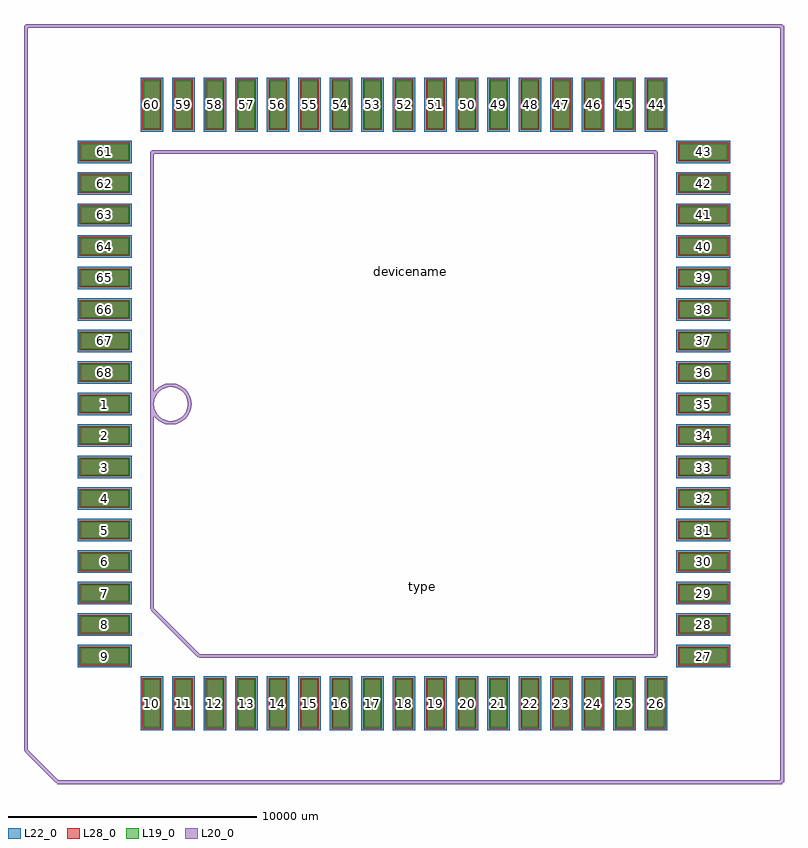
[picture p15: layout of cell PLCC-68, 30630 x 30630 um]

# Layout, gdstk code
import gdstk
lib = gdstk.Library(unit=1e-6, precision=1e-09)
def R(c, l, rs):  # rectangles x0, y0, x1, y1
    for r in rs: c.add(gdstk.rectangle(r[:2], r[2:], *l))
def A(c, l, x, y, w, h, nx, ny, dx, dy):  # array of equal rectangles
    R(c, l, [(x+i*dx, y+j*dy, x+i*dx+w, y+j*dy+h) for i in range(nx) for j in range(ny)])
L19_0 = (19, 0)
L20_0 = (20, 0)
L22_0 = (22, 0)
L28_0 = (28, 0)

plcc_68 = lib.new_cell('PLCC-68')
A(plcc_68, L19_0, -10491, -13031, 662, 1932, 17, 2, 1270, 24130)
A(plcc_68, L19_0, -13031, -10491, 1932, 662, 1, 17, 0, 1270)
A(plcc_68, L19_0, 11099, -10491, 1932, 662, 1, 17, 0, 1270)
A(plcc_68, L22_0, -10616, -13156, 912, 2182, 17, 2, 1270, 24130)
A(plcc_68, L22_0, -13156, -10616, 2182, 912, 1, 17, 0, 1270)
A(plcc_68, L22_0, 10974, -10616, 2182, 912, 1, 17, 0, 1270)
A(plcc_68, L28_0, -10541, -13081, 762, 2032, 17, 2, 1270, 24130)
A(plcc_68, L28_0, -13081, -10541, 2032, 762, 1, 17, 0, 1270)
A(plcc_68, L28_0, 11049, -10541, 2032, 762, 1, 17, 0, 1270)
plcc_68.add(gdstk.FlexPath([(-15240,15240),(-15240,-13970)], 149.998, ends="flush", simple_path=True, layer=20, datatype=0))  # L20_0
plcc_68.add(gdstk.FlexPath([(15240,15240),(-15240,15240)], 149.998, ends="flush", simple_path=True, layer=20, datatype=0))  # L20_0
plcc_68.add(gdstk.FlexPath([(15240,-15240),(15240,15240)], 149.998, ends="flush", simple_path=True, layer=20, datatype=0))  # L20_0
plcc_68.add(gdstk.FlexPath([(-13970,-15240),(15240,-15240)], 149.998, ends="flush", simple_path=True, layer=20, datatype=0))  # L20_0
plcc_68.add(gdstk.FlexPath([(-15240,-13970),(-13970,-15240)], 149.998, ends="flush", simple_path=True, layer=20, datatype=0))  # L20_0
plcc_68.add(gdstk.FlexPath([(-10160,-8255),(-10160,10160)], 149.998, ends="flush", simple_path=True, layer=20, datatype=0))  # L20_0
plcc_68.add(gdstk.FlexPath([(-8255,-10160),(-10160,-8255)], 149.998, ends="flush", simple_path=True, layer=20, datatype=0))  # L20_0
plcc_68.add(gdstk.FlexPath([(10160,-10160),(-8255,-10160)], 149.998, ends="flush", simple_path=True, layer=20, datatype=0))  # L20_0
plcc_68.add(gdstk.FlexPath([(10160,10160),(10160,-10160)], 149.998, ends="flush", simple_path=True, layer=20, datatype=0))  # L20_0
plcc_68.add(gdstk.FlexPath([(-10160,10160),(10160,10160)], 149.998, ends="flush", simple_path=True, layer=20, datatype=0))  # L20_0
plcc_68.add(gdstk.FlexPath([(-10160,0),(-10134.035,-197.22),(-10057.911,-381),(-9936.815,-538.815),(-9779,-659.911),(-9595.22,-736.035),(-9398,-762),(-9200.78,-736.035),(-9017,-659.911),(-8859.185,-538.815),(-8738.089,-381),(-8661.965,-197.22),(-8636,0),(-8661.965,197.22),(-8738.089,381),(-8859.185,538.815),(-9017,659.911),(-9200.78,736.035),(-9398,762),(-9595.22,736.035),(-9779,659.911),(-9936.815,538.815),(-10057.911,381),(-10134.035,197.22),(-10160,0)], 149.998, ends="flush", simple_path=True, layer=20, datatype=0))  # L20_0
plcc_68.add(gdstk.Label('43', (12065,10160), layer=28, texttype=0))
plcc_68.add(gdstk.Label('42', (12065,8890), layer=28, texttype=0))
plcc_68.add(gdstk.Label('41', (12065,7620), layer=28, texttype=0))
plcc_68.add(gdstk.Label('40', (12065,6350), layer=28, texttype=0))
plcc_68.add(gdstk.Label('39', (12065,5080), layer=28, texttype=0))
plcc_68.add(gdstk.Label('38', (12065,3810), layer=28, texttype=0))
plcc_68.add(gdstk.Label('37', (12065,2540), layer=28, texttype=0))
plcc_68.add(gdstk.Label('36', (12065,1270), layer=28, texttype=0))
plcc_68.add(gdstk.Label('35', (12065,0), layer=28, texttype=0))
plcc_68.add(gdstk.Label('34', (12065,-1270), layer=28, texttype=0))
plcc_68.add(gdstk.Label('33', (12065,-2540), layer=28, texttype=0))
plcc_68.add(gdstk.Label('32', (12065,-3810), layer=28, texttype=0))
plcc_68.add(gdstk.Label('31', (12065,-5080), layer=28, texttype=0))
plcc_68.add(gdstk.Label('30', (12065,-6350), layer=28, texttype=0))
plcc_68.add(gdstk.Label('29', (12065,-7620), layer=28, texttype=0))
plcc_68.add(gdstk.Label('28', (12065,-8890), layer=28, texttype=0))
plcc_68.add(gdstk.Label('27', (12065,-10160), layer=28, texttype=0))
plcc_68.add(gdstk.Label('26', (10160,-12065), layer=28, texttype=0))
plcc_68.add(gdstk.Label('25', (8890,-12065), layer=28, texttype=0))
plcc_68.add(gdstk.Label('24', (7620,-12065), layer=28, texttype=0))
plcc_68.add(gdstk.Label('23', (6350,-12065), layer=28, texttype=0))
plcc_68.add(gdstk.Label('22', (5080,-12065), layer=28, texttype=0))
plcc_68.add(gdstk.Label('21', (3810,-12065), layer=28, texttype=0))
plcc_68.add(gdstk.Label('20', (2540,-12065), layer=28, texttype=0))
plcc_68.add(gdstk.Label('19', (1270,-12065), layer=28, texttype=0))
plcc_68.add(gdstk.Label('18', (0,-12065), layer=28, texttype=0))
plcc_68.add(gdstk.Label('17', (-1270,-12065), layer=28, texttype=0))
plcc_68.add(gdstk.Label('16', (-2540,-12065), layer=28, texttype=0))
plcc_68.add(gdstk.Label('15', (-3810,-12065), layer=28, texttype=0))
plcc_68.add(gdstk.Label('14', (-5080,-12065), layer=28, texttype=0))
plcc_68.add(gdstk.Label('13', (-6350,-12065), layer=28, texttype=0))
plcc_68.add(gdstk.Label('12', (-7620,-12065), layer=28, texttype=0))
plcc_68.add(gdstk.Label('11', (-8890,-12065), layer=28, texttype=0))
plcc_68.add(gdstk.Label('10', (-10160,-12065), layer=28, texttype=0))
plcc_68.add(gdstk.Label('60', (-10160,12065), layer=28, texttype=0))
plcc_68.add(gdstk.Label('59', (-8890,12065), layer=28, texttype=0))
plcc_68.add(gdstk.Label('58', (-7620,12065), layer=28, texttype=0))
plcc_68.add(gdstk.Label('57', (-6350,12065), layer=28, texttype=0))
plcc_68.add(gdstk.Label('56', (-5080,12065), layer=28, texttype=0))
plcc_68.add(gdstk.Label('55', (-3810,12065), layer=28, texttype=0))
plcc_68.add(gdstk.Label('54', (-2540,12065), layer=28, texttype=0))
plcc_68.add(gdstk.Label('53', (-1270,12065), layer=28, texttype=0))
plcc_68.add(gdstk.Label('52', (0,12065), layer=28, texttype=0))
plcc_68.add(gdstk.Label('51', (1270,12065), layer=28, texttype=0))
plcc_68.add(gdstk.Label('50', (2540,12065), layer=28, texttype=0))
plcc_68.add(gdstk.Label('49', (3810,12065), layer=28, texttype=0))
plcc_68.add(gdstk.Label('48', (5080,12065), layer=28, texttype=0))
plcc_68.add(gdstk.Label('47', (6350,12065), layer=28, texttype=0))
plcc_68.add(gdstk.Label('46', (7620,12065), layer=28, texttype=0))
plcc_68.add(gdstk.Label('45', (8890,12065), layer=28, texttype=0))
plcc_68.add(gdstk.Label('44', (10160,12065), layer=28, texttype=0))
plcc_68.add(gdstk.Label('68', (-12065,1270), layer=28, texttype=0))
plcc_68.add(gdstk.Label('67', (-12065,2540), layer=28, texttype=0))
plcc_68.add(gdstk.Label('66', (-12065,3810), layer=28, texttype=0))
plcc_68.add(gdstk.Label('65', (-12065,5080), layer=28, texttype=0))
plcc_68.add(gdstk.Label('64', (-12065,6350), layer=28, texttype=0))
plcc_68.add(gdstk.Label('63', (-12065,7620), layer=28, texttype=0))
plcc_68.add(gdstk.Label('62', (-12065,8890), layer=28, texttype=0))
plcc_68.add(gdstk.Label('61', (-12065,10160), layer=28, texttype=0))
plcc_68.add(gdstk.Label('9', (-12065,-10160), layer=28, texttype=0))
plcc_68.add(gdstk.Label('8', (-12065,-8890), layer=28, texttype=0))
plcc_68.add(gdstk.Label('7', (-12065,-7620), layer=28, texttype=0))
plcc_68.add(gdstk.Label('6', (-12065,-6350), layer=28, texttype=0))
plcc_68.add(gdstk.Label('5', (-12065,-5080), layer=28, texttype=0))
plcc_68.add(gdstk.Label('4', (-12065,-3810), layer=28, texttype=0))
plcc_68.add(gdstk.Label('3', (-12065,-2540), layer=28, texttype=0))
plcc_68.add(gdstk.Label('2', (-12065,-1270), layer=28, texttype=0))
plcc_68.add(gdstk.Label('1', (-12065,0), layer=28, texttype=0))
plcc_68.add(gdstk.Label('type', (762,-7366), layer=9, texttype=0))
plcc_68.add(gdstk.Label('devicename', (254,5334), layer=9, texttype=0))

lib.write_gds('PLCC-68.gds')
